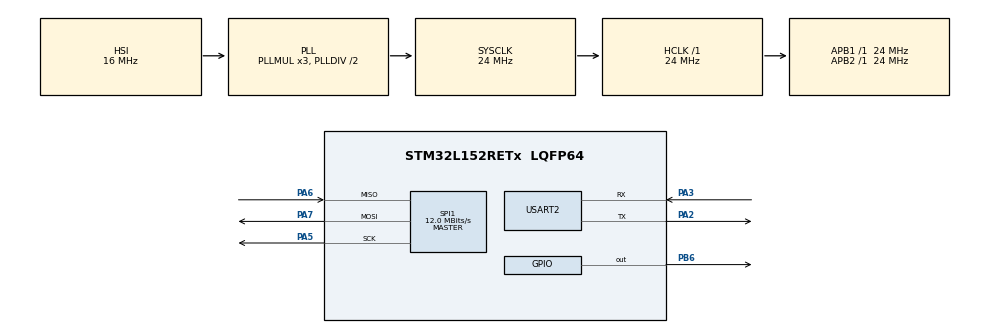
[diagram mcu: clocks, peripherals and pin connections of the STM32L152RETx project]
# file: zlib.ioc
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FATFS._MAX_SS=4096
FATFS._USE_LFN=1
Mcu.Family=STM32L1
Mcu.Name=STM32L152RETx
Mcu.Package=LQFP64
NVIC.PriorityGroup=NVIC_PRIORITYGROUP_4
PA13.Mode=Serial_Wire
PA13.Signal=SYS_JTMS-SWDIO
PA14.Mode=Serial_Wire
PA14.Signal=SYS_JTCK-SWCLK
PA2.Mode=Asynchronous
PA2.Signal=USART2_TX
PA3.Mode=Asynchronous
PA3.Signal=USART2_RX
PA5.Mode=Full_Duplex_Master
PA5.Signal=SPI1_SCK
PA6.Mode=Full_Duplex_Master
PA6.Signal=SPI1_MISO
PA7.Mode=Full_Duplex_Master
PA7.Signal=SPI1_MOSI
PB6.Signal=GPIO_Output
PH0-OSC_IN.Mode=HSE-External-Oscillator
PH0-OSC_IN.Signal=RCC_OSC_IN
PH1-OSC_OUT.Mode=HSE-External-Oscillator
PH1-OSC_OUT.Signal=RCC_OSC_OUT
ProjectManager.HeapSize=0x200
ProjectManager.StackSize=0x400
ProjectManager.TargetToolchain=STM32CubeIDE
RCC.AHBFreq_Value=24000000
RCC.APB1Freq_Value=24000000
RCC.APB1TimFreq_Value=24000000
RCC.APB2Freq_Value=24000000
RCC.APB2TimFreq_Value=24000000
RCC.HCLKFreq_Value=24000000
RCC.HSE_VALUE=24000000
RCC.HSI_VALUE=16000000
RCC.LSE_VALUE=32768
RCC.MSI_VALUE=2097000
RCC.SYSCLKFreq_VALUE=24000000
RCC.SYSCLKSource=RCC_SYSCLKSOURCE_PLLCLK
RCC.VCOOutputFreq_Value=48000000
SPI1.CalculateBaudRate=12.0 MBits/s
SPI1.Direction=SPI_DIRECTION_2LINES
SPI1.Mode=SPI_MODE_MASTER
SPI1.VirtualType=VM_MASTER
TIM10.Period=65535-1
TIM10.Prescaler=24-1
USART2.VirtualMode=VM_ASYNC
VP_FATFS_VS_Generic.Mode=User_defined
VP_TIM10_VS_ClockSourceINT.Mode=Internal
board=custom

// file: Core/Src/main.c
/* USER CODE BEGIN Header */
/**
  ******************************************************************************
  * @file           : main.c
  * @brief          : Main program body
  ******************************************************************************
  * @attention
  *
  * Copyright (c) 2023 STMicroelectronics.
  * All rights reserved.
  *
  * This software is licensed under terms that can be found in the LICENSE file
  * in the root directory of this software component.
  * If no LICENSE file comes with this software, it is provided AS-IS.
  *
  ******************************************************************************
  */
/* USER CODE END Header */
#include "main.h"
#include "fatfs.h"

/* USER CODE BEGIN Includes */
#include "zlib.h"
#include <stdio.h>
#include <stdarg.h>
#include <string.h>
/* USER CODE END Includes */

/* USER CODE BEGIN PTD */
#define CHUNK_SIZE 250
FATFS fs;
FIL input_file,output_file;
/* USER CODE END PTD */

SPI_HandleTypeDef hspi1;

TIM_HandleTypeDef htim10;

UART_HandleTypeDef huart2;

void SystemClock_Config(void);
static void MX_GPIO_Init(void);
static void MX_SPI1_Init(void);
static void MX_USART2_UART_Init(void);
static void MX_TIM10_Init(void);
/* USER CODE BEGIN PFP */
void vprint(const char *fmt, va_list argp);
void my_printf(const char *fmt, ...);
void deflate_compress(const char* input, size_t input_size, char* output, size_t* output_size);
/* USER CODE END PFP */

int main(void)
{
  /* USER CODE BEGIN 1 */
	uint16_t timer_val;
  /* USER CODE END 1 */

  /* MCU Configuration--------------------------------------------------------*/

  /* Reset of all peripherals, Initializes the Flash interface and the Systick. */
  HAL_Init();

  /* Configure the system clock */
  SystemClock_Config();

  /* Initialize all configured peripherals */
  MX_GPIO_Init();
  MX_SPI1_Init();
  MX_FATFS_Init();
  MX_USART2_UART_Init();
  MX_TIM10_Init();
  /* USER CODE BEGIN 2 */
  	  HAL_Delay(500);

  	  f_mount(&fs, "", 0);
  	  // Open the data.csv file for reading
      FRESULT result = f_open(&input_file, "testfile.csv", FA_READ);
      if (result != FR_OK)
      {
          my_printf("Error opening data.csv for reading\n");
          return 1;
      }
      // Get the size of the input file
      DWORD input_size = f_size(&input_file);
      my_printf("Original file size: %d bytes\n", input_size);

      FRESULT res = f_open(&output_file, "testfile.zlib", FA_WRITE | FA_CREATE_ALWAYS);
	  if (res != FR_OK)
	  {
	      my_printf("Error opening compressed.zlib for writing\n");
	      return 1;
	  }

      // Allocate a buffer to hold the data from the file
      char buffer[CHUNK_SIZE];

      // Read the data from the file into the buffer
      UINT bytes_read;
      result = f_read(&input_file, buffer, CHUNK_SIZE, &bytes_read);

      // Start timer
      HAL_TIM_Base_Start(&htim10);

      while (result == FR_OK && bytes_read > 0)
      {
          // Get current time (microseconds)
          timer_val = __HAL_TIM_GET_COUNTER(&htim10);

    	  // Compress the data in the buffer using DEFLATE
    	  char compressed_buffer[CHUNK_SIZE];
    	  size_t compressed_size = CHUNK_SIZE;
    	  deflate_compress(buffer, bytes_read, compressed_buffer, &compressed_size);

          // Get time elapsed
          timer_val = __HAL_TIM_GET_COUNTER(&htim10) - timer_val;
          my_printf("Timer: %u us\n", timer_val);

    	  // Write the compressed data back to the SD card
    	  UINT bytes_written;
    	  result = f_write(&output_file, compressed_buffer, compressed_size, &bytes_written);
    	  if (result != FR_OK || bytes_written != compressed_size)
    	  {
    	      my_printf("Error writing compressed data to file\n");
    	      return 1;
    	  }

    	  // Read the next chunk of data from the file
    	  result = f_read(&input_file, buffer, CHUNK_SIZE, &bytes_read);
    }

      // Get the size of the input file
      DWORD output_size = f_size(&output_file);
      my_printf("Compressed file size: %d bytes\n", output_size);

      // Close the input file and output file, and unmount the SD card
      f_close(&input_file);
      f_close(&output_file);
      f_mount(NULL, "", 0);

  /* USER CODE END 2 */

  /* Infinite loop */
  while (1)
  {

  }
}

void SystemClock_Config(void)
{
  RCC_OscInitTypeDef RCC_OscInitStruct = {0};
  RCC_ClkInitTypeDef RCC_ClkInitStruct = {0};

  /** Configure the main internal regulator output voltage
  */
  __HAL_PWR_VOLTAGESCALING_CONFIG(PWR_REGULATOR_VOLTAGE_SCALE1);

  /** Initializes the RCC Oscillators according to the specified parameters
  * in the RCC_OscInitTypeDef structure.
  */
  RCC_OscInitStruct.OscillatorType = RCC_OSCILLATORTYPE_HSI;
  RCC_OscInitStruct.HSIState = RCC_HSI_ON;
  RCC_OscInitStruct.HSICalibrationValue = RCC_HSICALIBRATION_DEFAULT;
  RCC_OscInitStruct.PLL.PLLState = RCC_PLL_ON;
  RCC_OscInitStruct.PLL.PLLSource = RCC_PLLSOURCE_HSI;
  RCC_OscInitStruct.PLL.PLLMUL = RCC_PLL_MUL3;
  RCC_OscInitStruct.PLL.PLLDIV = RCC_PLL_DIV2;
  if (HAL_RCC_OscConfig(&RCC_OscInitStruct) != HAL_OK)
  {
    Error_Handler();
  }

  /** Initializes the CPU, AHB and APB buses clocks
  */
  RCC_ClkInitStruct.ClockType = RCC_CLOCKTYPE_HCLK|RCC_CLOCKTYPE_SYSCLK
                              |RCC_CLOCKTYPE_PCLK1|RCC_CLOCKTYPE_PCLK2;
  RCC_ClkInitStruct.SYSCLKSource = RCC_SYSCLKSOURCE_PLLCLK;
  RCC_ClkInitStruct.AHBCLKDivider = RCC_SYSCLK_DIV1;
  RCC_ClkInitStruct.APB1CLKDivider = RCC_HCLK_DIV1;
  RCC_ClkInitStruct.APB2CLKDivider = RCC_HCLK_DIV1;

  if (HAL_RCC_ClockConfig(&RCC_ClkInitStruct, FLASH_LATENCY_1) != HAL_OK)
  {
    Error_Handler();
  }
}

static void MX_SPI1_Init(void)
{

  /* SPI1 parameter configuration*/
  hspi1.Instance = SPI1;
  hspi1.Init.Mode = SPI_MODE_MASTER;
  hspi1.Init.Direction = SPI_DIRECTION_2LINES;
  hspi1.Init.DataSize = SPI_DATASIZE_8BIT;
  hspi1.Init.CLKPolarity = SPI_POLARITY_LOW;
  hspi1.Init.CLKPhase = SPI_PHASE_1EDGE;
  hspi1.Init.NSS = SPI_NSS_SOFT;
  hspi1.Init.BaudRatePrescaler = SPI_BAUDRATEPRESCALER_2;
  hspi1.Init.FirstBit = SPI_FIRSTBIT_MSB;
  hspi1.Init.TIMode = SPI_TIMODE_DISABLE;
  hspi1.Init.CRCCalculation = SPI_CRCCALCULATION_DISABLE;
  hspi1.Init.CRCPolynomial = 10;
  if (HAL_SPI_Init(&hspi1) != HAL_OK)
  {
    Error_Handler();
  }

}

static void MX_TIM10_Init(void)
{

  TIM_ClockConfigTypeDef sClockSourceConfig = {0};

  htim10.Instance = TIM10;
  htim10.Init.Prescaler = 24-1;
  htim10.Init.CounterMode = TIM_COUNTERMODE_UP;
  htim10.Init.Period = 65535;
  htim10.Init.ClockDivision = TIM_CLOCKDIVISION_DIV1;
  htim10.Init.AutoReloadPreload = TIM_AUTORELOAD_PRELOAD_DISABLE;
  if (HAL_TIM_Base_Init(&htim10) != HAL_OK)
  {
    Error_Handler();
  }
  sClockSourceConfig.ClockSource = TIM_CLOCKSOURCE_INTERNAL;
  if (HAL_TIM_ConfigClockSource(&htim10, &sClockSourceConfig) != HAL_OK)
  {
    Error_Handler();
  }

}

static void MX_USART2_UART_Init(void)
{

  huart2.Instance = USART2;
  huart2.Init.BaudRate = 115200;
  huart2.Init.WordLength = UART_WORDLENGTH_8B;
  huart2.Init.StopBits = UART_STOPBITS_1;
  huart2.Init.Parity = UART_PARITY_NONE;
  huart2.Init.Mode = UART_MODE_TX_RX;
  huart2.Init.HwFlowCtl = UART_HWCONTROL_NONE;
  huart2.Init.OverSampling = UART_OVERSAMPLING_16;
  if (HAL_UART_Init(&huart2) != HAL_OK)
  {
    Error_Handler();
  }

}

static void MX_GPIO_Init(void)
{
  GPIO_InitTypeDef GPIO_InitStruct = {0};

  /* GPIO Ports Clock Enable */
  __HAL_RCC_GPIOH_CLK_ENABLE();
  __HAL_RCC_GPIOA_CLK_ENABLE();
  __HAL_RCC_GPIOB_CLK_ENABLE();

  /*Configure GPIO pin Output Level */
  HAL_GPIO_WritePin(GPIOB, GPIO_PIN_6, GPIO_PIN_RESET);

  /*Configure GPIO pin : PB6 */
  GPIO_InitStruct.Pin = GPIO_PIN_6;
  GPIO_InitStruct.Mode = GPIO_MODE_OUTPUT_PP;
  GPIO_InitStruct.Pull = GPIO_NOPULL;
  GPIO_InitStruct.Speed = GPIO_SPEED_FREQ_LOW;
  HAL_GPIO_Init(GPIOB, &GPIO_InitStruct);

}

/* USER CODE BEGIN 4 */
void vprint(const char *fmt, va_list argp)
{
    char string[200];
    if(0 < vsprintf(string,fmt,argp)) // build string
    {
        HAL_UART_Transmit(&huart2, (uint8_t*)string, strlen(string), 0xffffff); // send message via UART
    }
}

void my_printf(const char *fmt, ...) // custom printf() function
{
    va_list argp;
    va_start(argp, fmt);
    vprint(fmt, argp);
    va_end(argp);
}

void deflate_compress(const char* input, size_t input_size, char* output, size_t* output_size)
{
    z_stream stream;
    stream.zalloc = Z_NULL;
    stream.zfree = Z_NULL;
    stream.opaque = Z_NULL;
    int ret = deflateInit(&stream, Z_DEFAULT_COMPRESSION);
    if (ret != Z_OK)
    {
        my_printf("Error initializing zlib: %d\n", ret);
        return;
    }

    stream.avail_in = input_size;
    stream.next_in = (Bytef*)input;
    stream.avail_out = *output_size;
    stream.next_out = (Bytef*)output;
    ret = deflate(&stream, Z_FINISH);
    if (ret != Z_STREAM_END)
    {
        my_printf("Error compressing data: %d\n", ret);
        return;
    }
    *output_size = stream.total_out;
    deflateEnd(&stream);
}

/* USER CODE END 4 */

void Error_Handler(void)
{
  __disable_irq();
  while (1)
  {
  }
}
